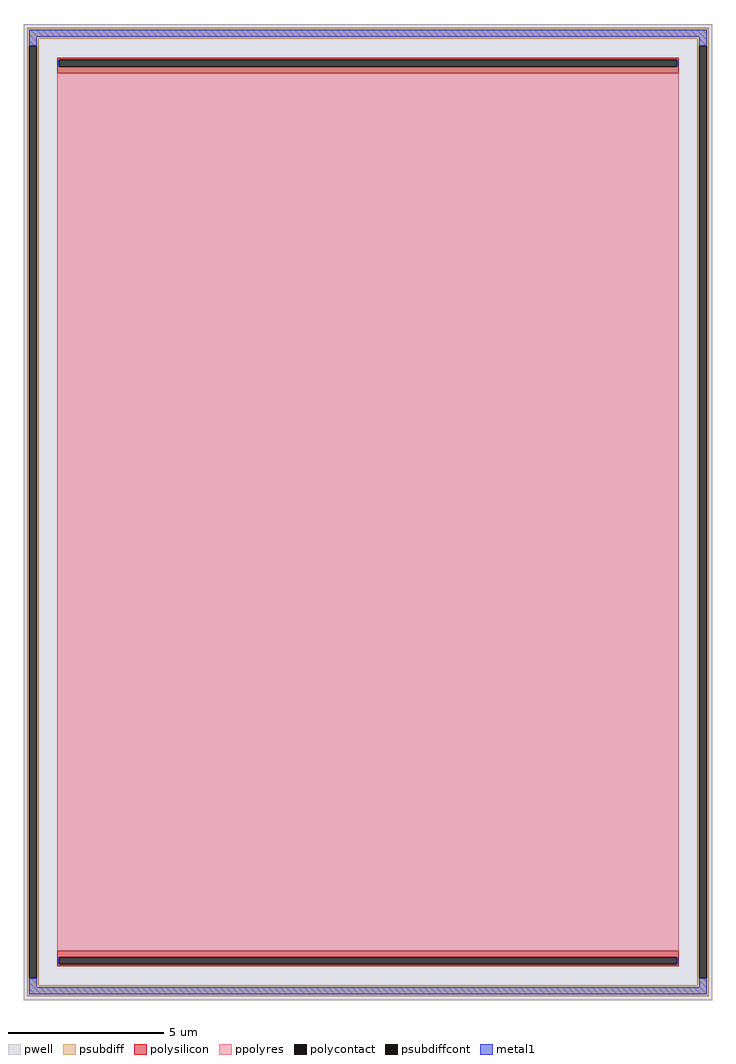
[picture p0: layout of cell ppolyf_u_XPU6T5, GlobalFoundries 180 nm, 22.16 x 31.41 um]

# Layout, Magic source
magic
tech gf180mcuD
magscale 1 10
<< pwell >>
rect -2216 -3141 2216 3141
<< psubdiff >>
rect -2192 3045 2192 3117
rect -2192 3001 -2120 3045
rect -2192 -3001 -2179 3001
rect -2133 -3001 -2120 3001
rect 2120 3001 2192 3045
rect -2192 -3045 -2120 -3001
rect 2120 -3001 2133 3001
rect 2179 -3001 2192 3001
rect 2120 -3045 2192 -3001
rect -2192 -3117 2192 -3045
<< psubdiffcont >>
rect -2179 -3001 -2133 3001
rect 2133 -3001 2179 3001
<< polysilicon >>
rect -2000 2912 2000 2925
rect -2000 2866 -1987 2912
rect 1987 2866 2000 2912
rect -2000 2823 2000 2866
rect -2000 -2866 2000 -2823
rect -2000 -2912 -1987 -2866
rect 1987 -2912 2000 -2866
rect -2000 -2925 2000 -2912
<< polycontact >>
rect -1987 2866 1987 2912
rect -1987 -2912 1987 -2866
<< ppolyres >>
rect -2000 -2823 2000 2823
<< metal1 >>
rect -2179 3058 2179 3104
rect -2179 3001 -2133 3058
rect 2133 3001 2179 3058
rect -1998 2866 -1987 2912
rect 1987 2866 1998 2912
rect -1998 -2912 -1987 -2866
rect 1987 -2912 1998 -2866
rect -2179 -3058 -2133 -3001
rect 2133 -3058 2179 -3001
rect -2179 -3104 2179 -3058
<< properties >>
string FIXED_BBOX -2156 -3081 2156 3081
string gencell ppolyf_u
string library gf180mcu
string parameters w 20.0 l 28.229 m 1 nx 1 wmin 0.80 lmin 1.00 class resistor rho 315 val 445.877 dummy 0 dw 0.057 term 0.0 sterm 0.0 caplen 0.4 snake 0 guard 1 guard_type pwell glc 1 grc 1 gtc 0 gbc 0 roverlap 0 endcov 100 full_metal 1
<< end >>
